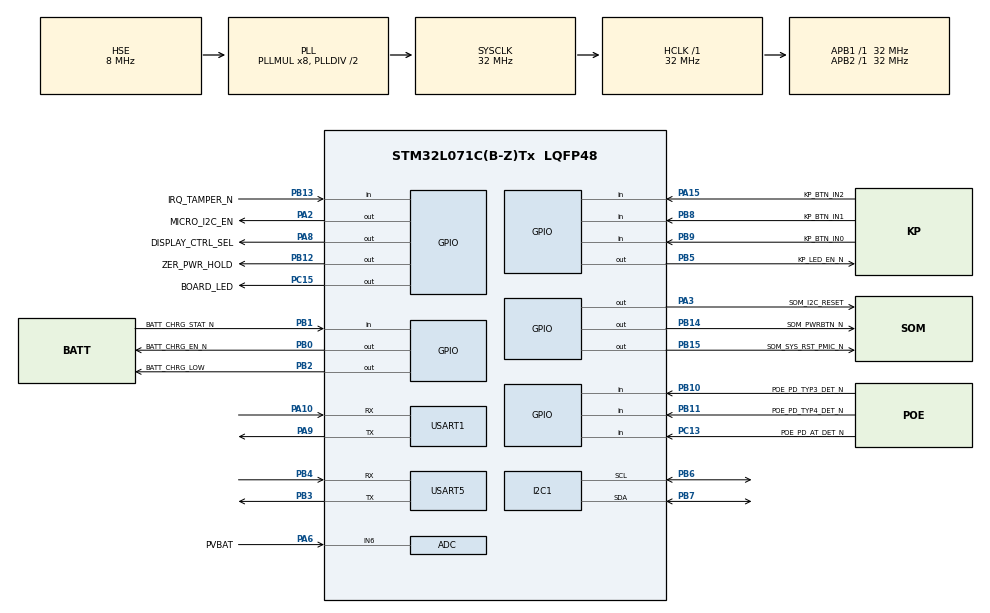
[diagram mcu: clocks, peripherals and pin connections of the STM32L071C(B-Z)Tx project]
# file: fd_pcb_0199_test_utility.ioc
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ADC.EOCSelection=ADC_EOC_SINGLE_CONV
ADC.SamplingTime=ADC_SAMPLETIME_160CYCLES_5
FREERTOS.Queues01=serialCmdTaskRxData,128,uint32_t,0,Dynamic,NULL,NULL;serialCmdTaskTxData,512,uint32_t,0,Dynamic,NULL,NULL;serialRxEvent,128,uint32_t,0,Dynamic,NULL,NULL;serialEchoTaskRxData,128,uint32_t,0,Dynamic,NULL,NULL;serialEchoTaskTxData,128,uint32_t,0,Dynamic,NULL,NULL
FREERTOS.Tasks01=defaultTask,0,128,StartDefaultTask,Default,NULL,Dynamic,NULL,NULL;serialBufferTask,0,256,sbt_SerialBufferTask,As external,NULL,Dynamic,NULL,NULL;serialCmdTask,0,512,sct_SerialCmdTask,As external,NULL,Dynamic,NULL,NULL;serialEchoTask,-2,256,set_SerialEchoTask,As external,NULL,Dynamic,NULL,NULL
FREERTOS.configMAX_TASK_NAME_LEN=32
FREERTOS.configTOTAL_HEAP_SIZE=12000
I2C1.Timing=0x00707CBB
Mcu.Family=STM32L0
Mcu.Name=STM32L071C(B-Z)Tx
Mcu.Package=LQFP48
NVIC.TIM22_IRQn=true\:0\:0\:false\:false\:true\:false\:false\:true
NVIC.TimeBase=TIM22_IRQn
NVIC.TimeBaseIP=TIM22
NVIC.USART1_IRQn=true\:3\:0\:true\:false\:true\:false\:true\:true
NVIC.USART4_5_IRQn=true\:3\:0\:true\:false\:true\:false\:true\:true
PA10.Mode=Asynchronous
PA10.Signal=USART1_RX
PA13.Mode=Serial_Wire
PA13.Signal=SYS_SWDIO
PA14.Mode=Serial_Wire
PA14.Signal=SYS_SWCLK
PA15.GPIO_Label=KP_BTN_IN2
PA15.Signal=GPIO_Input
PA2.GPIO_Label=MICRO_I2C_EN
PA2.Signal=GPIO_Output
PA3.GPIO_Label=SOM_I2C_RESET
PA3.Signal=GPIO_Output
PA6.GPIO_Label=PVBAT
PA6.Mode=IN6
PA6.Signal=ADC_IN6
PA8.GPIO_Label=DISPLAY_CTRL_SEL
PA8.PinState=GPIO_PIN_SET
PA8.Signal=GPIO_Output
PA9.Mode=Asynchronous
PA9.Signal=USART1_TX
PB0.GPIO_Label=BATT_CHRG_EN_N
PB0.Signal=GPIO_Output
PB1.GPIO_Label=BATT_CHRG_STAT_N
PB1.Signal=GPIO_Input
PB10.GPIO_Label=POE_PD_TYP3_DET_N
PB10.Signal=GPIO_Input
PB11.GPIO_Label=POE_PD_TYP4_DET_N
PB11.Signal=GPIO_Input
PB12.GPIO_Label=ZER_PWR_HOLD
PB12.Signal=GPIO_Output
PB13.GPIO_Label=IRQ_TAMPER_N
PB13.Signal=GPIO_Input
PB14.GPIO_Label=SOM_PWRBTN_N
PB14.Signal=GPIO_Output
PB15.GPIO_Label=SOM_SYS_RST_PMIC_N
PB15.Signal=GPIO_Output
PB2.GPIO_Label=BATT_CHRG_LOW
PB2.GPIO_Speed=GPIO_SPEED_FREQ_HIGH
PB2.Signal=GPIO_Output
PB3.Mode=Asynchronous
PB3.Signal=USART5_TX
PB4.Mode=Asynchronous
PB4.Signal=USART5_RX
PB5.GPIO_Label=KP_LED_EN_N
PB5.PinState=GPIO_PIN_SET
PB5.Signal=GPIO_Output
PB6.Mode=I2C
PB6.Signal=I2C1_SCL
PB7.Mode=I2C
PB7.Signal=I2C1_SDA
PB8.GPIO_Label=KP_BTN_IN1
PB8.Signal=GPIO_Input
PB9.GPIO_Label=KP_BTN_IN0
PB9.Signal=GPIO_Input
PC13.GPIO_Label=POE_PD_AT_DET_N
PC13.Signal=GPIO_Input
PC15-OSC32_OUT.GPIO_Label=BOARD_LED
PC15-OSC32_OUT.Signal=GPIO_Output
PH0-OSC_IN.Mode=HSE-External-Clock-Source
PH0-OSC_IN.Signal=RCC_OSC_IN
ProjectManager.HeapSize=0x200
ProjectManager.StackSize=0x400
ProjectManager.TargetToolchain=STM32CubeIDE
RCC.AHBFreq_Value=32000000
RCC.APB1Freq_Value=32000000
RCC.APB1TimFreq_Value=32000000
RCC.APB2Freq_Value=32000000
RCC.APB2TimFreq_Value=32000000
RCC.HCLKFreq_Value=32000000
RCC.HSE_VALUE=8000000
RCC.HSI16_VALUE=16000000
RCC.HSI_VALUE=16000000
RCC.LSE_VALUE=32768
RCC.MSI_VALUE=2097000
RCC.PLLMUL=RCC_PLLMUL_8
RCC.PLLSourceVirtual=RCC_PLLSOURCE_HSE
RCC.SYSCLKFreq_VALUE=32000000
RCC.SYSCLKSource=RCC_SYSCLKSOURCE_PLLCLK
RCC.VCOOutputFreq_Value=64000000
USART1.VirtualMode-Asynchronous=VM_ASYNC
USART5.VirtualMode-Asynchronous=VM_ASYNC
VP_ADC_TempSens_Input.Mode=IN-TempSens
VP_ADC_Vref_Input.Mode=IN-Vrefint
VP_FREERTOS_VS_CMSIS_V1.Mode=CMSIS_V1
VP_SYS_VS_tim22.Mode=TIM22
board=custom

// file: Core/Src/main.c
/* USER CODE BEGIN Header */
/**
  ******************************************************************************
  * @file           : main.c
  * @brief          : Main program body
  ******************************************************************************
  * @attention
  *
  * <h2><center>&copy; Copyright (c) 2023 STMicroelectronics.
  * All rights reserved.</center></h2>
  *
  * This software component is licensed by ST under BSD 3-Clause license,
  * the "License"; You may not use this file except in compliance with the
  * License. You may obtain a copy of the License at:
  *                        opensource.org/licenses/BSD-3-Clause
  *
  ******************************************************************************
  */
/* USER CODE END Header */
#include "main.h"
#include "cmsis_os.h"

/* USER CODE BEGIN Includes */
#include <string.h>
#include "serial_buffer_task.h"
#include "serial_cmd_task.h"
#include "serial_echo_task.h"
/* USER CODE END Includes */

ADC_HandleTypeDef hadc;

I2C_HandleTypeDef hi2c1;

UART_HandleTypeDef huart1;
UART_HandleTypeDef huart5;

osThreadId defaultTaskHandle;
osThreadId serialBufferTaskHandle;
osThreadId serialCmdTaskHandle;
osThreadId serialEchoTaskHandle;
osMessageQId serialCmdTaskRxDataHandle;
osMessageQId serialCmdTaskTxDataHandle;
osMessageQId serialRxEventHandle;
osMessageQId serialEchoTaskRxDataHandle;
osMessageQId serialEchoTaskTxDataHandle;

void SystemClock_Config(void);
static void MX_GPIO_Init(void);
static void MX_ADC_Init(void);
static void MX_I2C1_Init(void);
static void MX_USART1_UART_Init(void);
static void MX_USART5_UART_Init(void);
void StartDefaultTask(void const * argument);
extern void sbt_SerialBufferTask(void const * argument);
extern void sct_SerialCmdTask(void const * argument);
extern void set_SerialEchoTask(void const * argument);

int main(void)
{
  /* USER CODE BEGIN 1 */
  sct_Init_t sct_init_data;
  sbt_Init_t sbt_init_data;
  set_Init_t set_init_data;
  /* USER CODE END 1 */

  /* MCU Configuration--------------------------------------------------------*/

  /* Reset of all peripherals, Initializes the Flash interface and the Systick. */
  HAL_Init();

  /* Configure the system clock */
  SystemClock_Config();

  /* Initialize all configured peripherals */
  MX_GPIO_Init();
  MX_ADC_Init();
  MX_I2C1_Init();
  MX_USART1_UART_Init();
  MX_USART5_UART_Init();
  /* USER CODE BEGIN 2 */
  /* If the anti-tamper irq is low set ZER_PWR_HOLD to keep the +3V3_BAT supply enabled */
  if (HAL_GPIO_ReadPin(IRQ_TAMPER_N_GPIO_Port, IRQ_TAMPER_N_Pin) == GPIO_PIN_RESET)
  {
	  HAL_GPIO_WritePin(ZER_PWR_HOLD_GPIO_Port, ZER_PWR_HOLD_Pin, GPIO_PIN_SET);
  }
  /* USER CODE END 2 */

  /* Create the queue(s) */
  /* definition and creation of serialCmdTaskRxData */
  osMessageQDef(serialCmdTaskRxData, 128, uint32_t);
  serialCmdTaskRxDataHandle = osMessageCreate(osMessageQ(serialCmdTaskRxData), NULL);

  /* definition and creation of serialCmdTaskTxData */
  osMessageQDef(serialCmdTaskTxData, 512, uint32_t);
  serialCmdTaskTxDataHandle = osMessageCreate(osMessageQ(serialCmdTaskTxData), NULL);

  /* definition and creation of serialRxEvent */
  osMessageQDef(serialRxEvent, 128, uint32_t);
  serialRxEventHandle = osMessageCreate(osMessageQ(serialRxEvent), NULL);

  /* definition and creation of serialEchoTaskRxData */
  osMessageQDef(serialEchoTaskRxData, 128, uint32_t);
  serialEchoTaskRxDataHandle = osMessageCreate(osMessageQ(serialEchoTaskRxData), NULL);

  /* definition and creation of serialEchoTaskTxData */
  osMessageQDef(serialEchoTaskTxData, 128, uint32_t);
  serialEchoTaskTxDataHandle = osMessageCreate(osMessageQ(serialEchoTaskTxData), NULL);

  /* Create the thread(s) */
  /* definition and creation of defaultTask */
  osThreadDef(defaultTask, StartDefaultTask, osPriorityNormal, 0, 128);
  defaultTaskHandle = osThreadCreate(osThread(defaultTask), NULL);

  /* definition and creation of serialBufferTask */
  osThreadDef(serialBufferTask, sbt_SerialBufferTask, osPriorityNormal, 0, 256);
  serialBufferTaskHandle = osThreadCreate(osThread(serialBufferTask), NULL);

  /* definition and creation of serialCmdTask */
  osThreadDef(serialCmdTask, sct_SerialCmdTask, osPriorityNormal, 0, 512);
  serialCmdTaskHandle = osThreadCreate(osThread(serialCmdTask), NULL);

  /* definition and creation of serialEchoTask */
  osThreadDef(serialEchoTask, set_SerialEchoTask, osPriorityLow, 0, 256);
  serialEchoTaskHandle = osThreadCreate(osThread(serialEchoTask), NULL);

  /* USER CODE BEGIN RTOS_THREADS */
  /* add threads, ... */
  sbt_init_data.rx_event_queue				= serialRxEventHandle;
  sbt_init_data.no_uarts					= SBT_MAX_NO_UARTS;
  sbt_init_data.uarts[0].huart 				= &huart1;
  sbt_init_data.uarts[0].uart_rx_data_queue	= serialCmdTaskRxDataHandle;
  sbt_init_data.uarts[0].uart_tx_data_queue	= serialCmdTaskTxDataHandle;
  sbt_init_data.uarts[1].huart 				= &huart5;
  sbt_init_data.uarts[1].uart_rx_data_queue	= serialEchoTaskRxDataHandle;
  sbt_init_data.uarts[1].uart_tx_data_queue	= serialEchoTaskTxDataHandle;
  sbt_InitTask(sbt_init_data);

  set_init_data.no_uarts			= SET_MAX_NO_UARTS;
  set_init_data.rx_data_queue[0]	= serialEchoTaskRxDataHandle;
  set_init_data.tx_data_queue[0]	= serialEchoTaskTxDataHandle;

  set_InitTask(set_init_data);

  sct_init_data.tx_data_queue 		= serialCmdTaskTxDataHandle;
  sct_init_data.rx_data_queue 		= serialCmdTaskRxDataHandle;
  sct_init_data.i2c_device0			= &hi2c1;

  sct_init_data.gpi_pins[0].port	= IRQ_TAMPER_N_GPIO_Port;
  sct_init_data.gpi_pins[0].pin		= IRQ_TAMPER_N_Pin;
  strncpy(sct_init_data.gpi_pins[0].name, "IRQ_TAMPER_N", SCT_GPIO_PIN_NAME_MAX_LEN - 1);
  sct_init_data.gpi_pins[1].port	= BATT_CHRG_STAT_N_GPIO_Port;
  sct_init_data.gpi_pins[1].pin		= BATT_CHRG_STAT_N_Pin;
  strncpy(sct_init_data.gpi_pins[1].name, "BATT_CHRG_STAT_N", SCT_GPIO_PIN_NAME_MAX_LEN - 1);
  sct_init_data.gpi_pins[2].port	= POE_PD_AT_DET_N_GPIO_Port;
  sct_init_data.gpi_pins[2].pin		= POE_PD_AT_DET_N_Pin;
  strncpy(sct_init_data.gpi_pins[2].name, "POE_PD_AT_DET_N", SCT_GPIO_PIN_NAME_MAX_LEN - 1);
  sct_init_data.gpi_pins[3].port	= POE_PD_TYP3_DET_N_GPIO_Port;
  sct_init_data.gpi_pins[3].pin		= POE_PD_TYP3_DET_N_Pin;
  strncpy(sct_init_data.gpi_pins[3].name, "POE_PD_TYP3_DET_N", SCT_GPIO_PIN_NAME_MAX_LEN - 1);
  sct_init_data.gpi_pins[4].port	= POE_PD_TYP4_DET_N_GPIO_Port;
  sct_init_data.gpi_pins[4].pin		= POE_PD_TYP4_DET_N_Pin;
  strncpy(sct_init_data.gpi_pins[4].name, "POE_PD_TYP4_DET_N", SCT_GPIO_PIN_NAME_MAX_LEN - 1);
  sct_init_data.gpi_pins[5].port	= KP_BTN_IN0_GPIO_Port;
  sct_init_data.gpi_pins[5].pin		= KP_BTN_IN0_Pin;
  strncpy(sct_init_data.gpi_pins[5].name, "KP_BTN_IN0", SCT_GPIO_PIN_NAME_MAX_LEN - 1);
  sct_init_data.gpi_pins[6].port	= KP_BTN_IN1_GPIO_Port;
  sct_init_data.gpi_pins[6].pin		= KP_BTN_IN1_Pin;
  strncpy(sct_init_data.gpi_pins[6].name, "KP_BTN_IN1", SCT_GPIO_PIN_NAME_MAX_LEN - 1);
  sct_init_data.gpi_pins[7].port	= KP_BTN_IN2_GPIO_Port;
  sct_init_data.gpi_pins[7].pin		= KP_BTN_IN2_Pin;
  strncpy(sct_init_data.gpi_pins[7].name, "KP_BTN_IN2", SCT_GPIO_PIN_NAME_MAX_LEN - 1);

  sct_init_data.gpo_pins[0].port	= ZER_PWR_HOLD_GPIO_Port;
  sct_init_data.gpo_pins[0].pin		= ZER_PWR_HOLD_Pin;
  strncpy(sct_init_data.gpo_pins[0].name, "ZER_PWR_HOLD", SCT_GPIO_PIN_NAME_MAX_LEN - 1);
  sct_init_data.gpo_pins[1].port	= DISPLAY_CTRL_SEL_GPIO_Port;
  sct_init_data.gpo_pins[1].pin		= DISPLAY_CTRL_SEL_Pin;
  strncpy(sct_init_data.gpo_pins[1].name, "DISPLAY_CTRL_SEL", SCT_GPIO_PIN_NAME_MAX_LEN - 1);
  sct_init_data.gpo_pins[2].port	= SOM_PWRBTN_N_GPIO_Port;
  sct_init_data.gpo_pins[2].pin		= SOM_PWRBTN_N_Pin;
  strncpy(sct_init_data.gpo_pins[2].name, "SOM_PWR_BTN_N", SCT_GPIO_PIN_NAME_MAX_LEN - 1);
  sct_init_data.gpo_pins[3].port	= SOM_SYS_RST_PMIC_N_GPIO_Port;
  sct_init_data.gpo_pins[3].pin		= SOM_SYS_RST_PMIC_N_Pin;
  strncpy(sct_init_data.gpo_pins[3].name, "SOM_SYS_RST_PMIC_N", SCT_GPIO_PIN_NAME_MAX_LEN - 1);
  sct_init_data.gpo_pins[4].port	= KP_LED_EN_N_GPIO_Port;
  sct_init_data.gpo_pins[4].pin		= KP_LED_EN_N_Pin;
  strncpy(sct_init_data.gpo_pins[4].name, "KP_LED_EN_N", SCT_GPIO_PIN_NAME_MAX_LEN - 1);
  sct_init_data.gpo_pins[5].port	= BATT_CHRG_LOW_GPIO_Port;
  sct_init_data.gpo_pins[5].pin		= BATT_CHRG_LOW_Pin;
  strncpy(sct_init_data.gpo_pins[5].name, "BATT_CHRG_LOW", SCT_GPIO_PIN_NAME_MAX_LEN - 1);
  sct_init_data.gpo_pins[6].port	= BATT_CHRG_EN_N_GPIO_Port;
  sct_init_data.gpo_pins[6].pin		= BATT_CHRG_EN_N_Pin;
  strncpy(sct_init_data.gpo_pins[6].name, "BATT_CHRG_EN_N", SCT_GPIO_PIN_NAME_MAX_LEN - 1);
  sct_init_data.gpo_pins[7].port	= MICRO_I2C_EN_GPIO_Port;
  sct_init_data.gpo_pins[7].pin		= MICRO_I2C_EN_Pin;
  strncpy(sct_init_data.gpo_pins[7].name, "MICRO_I2C_EN", SCT_GPIO_PIN_NAME_MAX_LEN - 1);
  sct_init_data.gpo_pins[8].port	= SOM_I2C_RESET_GPIO_Port;
  sct_init_data.gpo_pins[8].pin		= SOM_I2C_RESET_Pin;
  strncpy(sct_init_data.gpo_pins[8].name, "SOM_I2C_RESET", SCT_GPIO_PIN_NAME_MAX_LEN - 1);

  sct_init_data.adc_device = &hadc;

  sct_InitTask(sct_init_data);
  /* USER CODE END RTOS_THREADS */

  /* Start scheduler */
  osKernelStart();

  /* We should never get here as control is now taken by the scheduler */
  /* Infinite loop */
  while (1)
  {

  }
}

void SystemClock_Config(void)
{
  RCC_OscInitTypeDef RCC_OscInitStruct = {0};
  RCC_ClkInitTypeDef RCC_ClkInitStruct = {0};
  RCC_PeriphCLKInitTypeDef PeriphClkInit = {0};

  /** Configure the main internal regulator output voltage
  */
  __HAL_PWR_VOLTAGESCALING_CONFIG(PWR_REGULATOR_VOLTAGE_SCALE1);
  /** Initializes the RCC Oscillators according to the specified parameters
  * in the RCC_OscInitTypeDef structure.
  */
  RCC_OscInitStruct.OscillatorType = RCC_OSCILLATORTYPE_HSE;
  RCC_OscInitStruct.HSEState = RCC_HSE_BYPASS;
  RCC_OscInitStruct.PLL.PLLState = RCC_PLL_ON;
  RCC_OscInitStruct.PLL.PLLSource = RCC_PLLSOURCE_HSE;
  RCC_OscInitStruct.PLL.PLLMUL = RCC_PLLMUL_8;
  RCC_OscInitStruct.PLL.PLLDIV = RCC_PLLDIV_2;
  if (HAL_RCC_OscConfig(&RCC_OscInitStruct) != HAL_OK)
  {
    Error_Handler();
  }
  /** Initializes the CPU, AHB and APB buses clocks
  */
  RCC_ClkInitStruct.ClockType = RCC_CLOCKTYPE_HCLK|RCC_CLOCKTYPE_SYSCLK
                              |RCC_CLOCKTYPE_PCLK1|RCC_CLOCKTYPE_PCLK2;
  RCC_ClkInitStruct.SYSCLKSource = RCC_SYSCLKSOURCE_PLLCLK;
  RCC_ClkInitStruct.AHBCLKDivider = RCC_SYSCLK_DIV1;
  RCC_ClkInitStruct.APB1CLKDivider = RCC_HCLK_DIV1;
  RCC_ClkInitStruct.APB2CLKDivider = RCC_HCLK_DIV1;

  if (HAL_RCC_ClockConfig(&RCC_ClkInitStruct, FLASH_LATENCY_1) != HAL_OK)
  {
    Error_Handler();
  }
  PeriphClkInit.PeriphClockSelection = RCC_PERIPHCLK_USART1|RCC_PERIPHCLK_I2C1;
  PeriphClkInit.Usart1ClockSelection = RCC_USART1CLKSOURCE_PCLK2;
  PeriphClkInit.I2c1ClockSelection = RCC_I2C1CLKSOURCE_PCLK1;
  if (HAL_RCCEx_PeriphCLKConfig(&PeriphClkInit) != HAL_OK)
  {
    Error_Handler();
  }
}

static void MX_ADC_Init(void)
{

  ADC_ChannelConfTypeDef sConfig = {0};

  /** Configure the global features of the ADC (Clock, Resolution, Data Alignment and number of conversion)
  */
  hadc.Instance = ADC1;
  hadc.Init.OversamplingMode = DISABLE;
  hadc.Init.ClockPrescaler = ADC_CLOCK_SYNC_PCLK_DIV2;
  hadc.Init.Resolution = ADC_RESOLUTION_12B;
  hadc.Init.SamplingTime = ADC_SAMPLETIME_160CYCLES_5;
  hadc.Init.ScanConvMode = ADC_SCAN_DIRECTION_FORWARD;
  hadc.Init.DataAlign = ADC_DATAALIGN_RIGHT;
  hadc.Init.ContinuousConvMode = DISABLE;
  hadc.Init.DiscontinuousConvMode = DISABLE;
  hadc.Init.ExternalTrigConvEdge = ADC_EXTERNALTRIGCONVEDGE_NONE;
  hadc.Init.ExternalTrigConv = ADC_SOFTWARE_START;
  hadc.Init.DMAContinuousRequests = DISABLE;
  hadc.Init.EOCSelection = ADC_EOC_SINGLE_CONV;
  hadc.Init.Overrun = ADC_OVR_DATA_PRESERVED;
  hadc.Init.LowPowerAutoWait = DISABLE;
  hadc.Init.LowPowerFrequencyMode = DISABLE;
  hadc.Init.LowPowerAutoPowerOff = DISABLE;
  if (HAL_ADC_Init(&hadc) != HAL_OK)
  {
    Error_Handler();
  }
  /** Configure for the selected ADC regular channel to be converted.
  */
  sConfig.Channel = ADC_CHANNEL_6;
  sConfig.Rank = ADC_RANK_CHANNEL_NUMBER;
  if (HAL_ADC_ConfigChannel(&hadc, &sConfig) != HAL_OK)
  {
    Error_Handler();
  }
  /** Configure for the selected ADC regular channel to be converted.
  */
  sConfig.Channel = ADC_CHANNEL_TEMPSENSOR;
  if (HAL_ADC_ConfigChannel(&hadc, &sConfig) != HAL_OK)
  {
    Error_Handler();
  }
  /** Configure for the selected ADC regular channel to be converted.
  */
  sConfig.Channel = ADC_CHANNEL_VREFINT;
  if (HAL_ADC_ConfigChannel(&hadc, &sConfig) != HAL_OK)
  {
    Error_Handler();
  }

}

static void MX_I2C1_Init(void)
{

  hi2c1.Instance = I2C1;
  hi2c1.Init.Timing = 0x00707CBB;
  hi2c1.Init.OwnAddress1 = 0;
  hi2c1.Init.AddressingMode = I2C_ADDRESSINGMODE_7BIT;
  hi2c1.Init.DualAddressMode = I2C_DUALADDRESS_DISABLE;
  hi2c1.Init.OwnAddress2 = 0;
  hi2c1.Init.OwnAddress2Masks = I2C_OA2_NOMASK;
  hi2c1.Init.GeneralCallMode = I2C_GENERALCALL_DISABLE;
  hi2c1.Init.NoStretchMode = I2C_NOSTRETCH_DISABLE;
  if (HAL_I2C_Init(&hi2c1) != HAL_OK)
  {
    Error_Handler();
  }
  /** Configure Analogue filter
  */
  if (HAL_I2CEx_ConfigAnalogFilter(&hi2c1, I2C_ANALOGFILTER_ENABLE) != HAL_OK)
  {
    Error_Handler();
  }
  /** Configure Digital filter
  */
  if (HAL_I2CEx_ConfigDigitalFilter(&hi2c1, 0) != HAL_OK)
  {
    Error_Handler();
  }

}

static void MX_USART1_UART_Init(void)
{

  huart1.Instance = USART1;
  huart1.Init.BaudRate = 115200;
  huart1.Init.WordLength = UART_WORDLENGTH_8B;
  huart1.Init.StopBits = UART_STOPBITS_1;
  huart1.Init.Parity = UART_PARITY_NONE;
  huart1.Init.Mode = UART_MODE_TX_RX;
  huart1.Init.HwFlowCtl = UART_HWCONTROL_NONE;
  huart1.Init.OverSampling = UART_OVERSAMPLING_16;
  huart1.Init.OneBitSampling = UART_ONE_BIT_SAMPLE_DISABLE;
  huart1.AdvancedInit.AdvFeatureInit = UART_ADVFEATURE_NO_INIT;
  if (HAL_UART_Init(&huart1) != HAL_OK)
  {
    Error_Handler();
  }

}

static void MX_USART5_UART_Init(void)
{

  huart5.Instance = USART5;
  huart5.Init.BaudRate = 115200;
  huart5.Init.WordLength = UART_WORDLENGTH_8B;
  huart5.Init.StopBits = UART_STOPBITS_1;
  huart5.Init.Parity = UART_PARITY_NONE;
  huart5.Init.Mode = UART_MODE_TX_RX;
  huart5.Init.HwFlowCtl = UART_HWCONTROL_NONE;
  huart5.Init.OverSampling = UART_OVERSAMPLING_16;
  huart5.Init.OneBitSampling = UART_ONE_BIT_SAMPLE_DISABLE;
  huart5.AdvancedInit.AdvFeatureInit = UART_ADVFEATURE_NO_INIT;
  if (HAL_UART_Init(&huart5) != HAL_OK)
  {
    Error_Handler();
  }

}

static void MX_GPIO_Init(void)
{
  GPIO_InitTypeDef GPIO_InitStruct = {0};

  /* GPIO Ports Clock Enable */
  __HAL_RCC_GPIOC_CLK_ENABLE();
  __HAL_RCC_GPIOH_CLK_ENABLE();
  __HAL_RCC_GPIOA_CLK_ENABLE();
  __HAL_RCC_GPIOB_CLK_ENABLE();

  /*Configure GPIO pin Output Level */
  HAL_GPIO_WritePin(BOARD_LED_GPIO_Port, BOARD_LED_Pin, GPIO_PIN_RESET);

  /*Configure GPIO pin Output Level */
  HAL_GPIO_WritePin(GPIOA, MICRO_I2C_EN_Pin|SOM_I2C_RESET_Pin, GPIO_PIN_RESET);

  /*Configure GPIO pin Output Level */
  HAL_GPIO_WritePin(GPIOB, BATT_CHRG_EN_N_Pin|BATT_CHRG_LOW_Pin|ZER_PWR_HOLD_Pin|SOM_PWRBTN_N_Pin
                          |SOM_SYS_RST_PMIC_N_Pin, GPIO_PIN_RESET);

  /*Configure GPIO pin Output Level */
  HAL_GPIO_WritePin(DISPLAY_CTRL_SEL_GPIO_Port, DISPLAY_CTRL_SEL_Pin, GPIO_PIN_SET);

  /*Configure GPIO pin Output Level */
  HAL_GPIO_WritePin(KP_LED_EN_N_GPIO_Port, KP_LED_EN_N_Pin, GPIO_PIN_SET);

  /*Configure GPIO pin : POE_PD_AT_DET_N_Pin */
  GPIO_InitStruct.Pin = POE_PD_AT_DET_N_Pin;
  GPIO_InitStruct.Mode = GPIO_MODE_INPUT;
  GPIO_InitStruct.Pull = GPIO_NOPULL;
  HAL_GPIO_Init(POE_PD_AT_DET_N_GPIO_Port, &GPIO_InitStruct);

  /*Configure GPIO pin : BOARD_LED_Pin */
  GPIO_InitStruct.Pin = BOARD_LED_Pin;
  GPIO_InitStruct.Mode = GPIO_MODE_OUTPUT_PP;
  GPIO_InitStruct.Pull = GPIO_NOPULL;
  GPIO_InitStruct.Speed = GPIO_SPEED_FREQ_LOW;
  HAL_GPIO_Init(BOARD_LED_GPIO_Port, &GPIO_InitStruct);

  /*Configure GPIO pins : MICRO_I2C_EN_Pin SOM_I2C_RESET_Pin DISPLAY_CTRL_SEL_Pin */
  GPIO_InitStruct.Pin = MICRO_I2C_EN_Pin|SOM_I2C_RESET_Pin|DISPLAY_CTRL_SEL_Pin;
  GPIO_InitStruct.Mode = GPIO_MODE_OUTPUT_PP;
  GPIO_InitStruct.Pull = GPIO_NOPULL;
  GPIO_InitStruct.Speed = GPIO_SPEED_FREQ_LOW;
  HAL_GPIO_Init(GPIOA, &GPIO_InitStruct);

  /*Configure GPIO pins : BATT_CHRG_EN_N_Pin ZER_PWR_HOLD_Pin SOM_PWRBTN_N_Pin SOM_SYS_RST_PMIC_N_Pin
                           KP_LED_EN_N_Pin */
  GPIO_InitStruct.Pin = BATT_CHRG_EN_N_Pin|ZER_PWR_HOLD_Pin|SOM_PWRBTN_N_Pin|SOM_SYS_RST_PMIC_N_Pin
                          |KP_LED_EN_N_Pin;
  GPIO_InitStruct.Mode = GPIO_MODE_OUTPUT_PP;
  GPIO_InitStruct.Pull = GPIO_NOPULL;
  GPIO_InitStruct.Speed = GPIO_SPEED_FREQ_LOW;
  HAL_GPIO_Init(GPIOB, &GPIO_InitStruct);

  /*Configure GPIO pins : BATT_CHRG_STAT_N_Pin POE_PD_TYP3_DET_N_Pin POE_PD_TYP4_DET_N_Pin IRQ_TAMPER_N_Pin
                           KP_BTN_IN1_Pin KP_BTN_IN0_Pin */
  GPIO_InitStruct.Pin = BATT_CHRG_STAT_N_Pin|POE_PD_TYP3_DET_N_Pin|POE_PD_TYP4_DET_N_Pin|IRQ_TAMPER_N_Pin
                          |KP_BTN_IN1_Pin|KP_BTN_IN0_Pin;
  GPIO_InitStruct.Mode = GPIO_MODE_INPUT;
  GPIO_InitStruct.Pull = GPIO_NOPULL;
  HAL_GPIO_Init(GPIOB, &GPIO_InitStruct);

  /*Configure GPIO pin : BATT_CHRG_LOW_Pin */
  GPIO_InitStruct.Pin = BATT_CHRG_LOW_Pin;
  GPIO_InitStruct.Mode = GPIO_MODE_OUTPUT_PP;
  GPIO_InitStruct.Pull = GPIO_NOPULL;
  GPIO_InitStruct.Speed = GPIO_SPEED_FREQ_HIGH;
  HAL_GPIO_Init(BATT_CHRG_LOW_GPIO_Port, &GPIO_InitStruct);

  /*Configure GPIO pin : KP_BTN_IN2_Pin */
  GPIO_InitStruct.Pin = KP_BTN_IN2_Pin;
  GPIO_InitStruct.Mode = GPIO_MODE_INPUT;
  GPIO_InitStruct.Pull = GPIO_NOPULL;
  HAL_GPIO_Init(KP_BTN_IN2_GPIO_Port, &GPIO_InitStruct);

}

void StartDefaultTask(void const * argument)
{
  /* USER CODE BEGIN 5 */
  /* Infinite loop */
  for(;;)
  {
	  osDelay(1000);
	  HAL_GPIO_TogglePin(BOARD_LED_GPIO_Port, BOARD_LED_Pin);
  }
  /* USER CODE END 5 */
}

void HAL_TIM_PeriodElapsedCallback(TIM_HandleTypeDef *htim)
{
  if (htim->Instance == TIM22) {
    HAL_IncTick();
  }
}

void Error_Handler(void)
{
}

/************************ (C) COPYRIGHT STMicroelectronics *****END OF FILE****/

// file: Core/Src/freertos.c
/* USER CODE BEGIN Header */
/**
  ******************************************************************************
  * File Name          : freertos.c
  * Description        : Code for freertos applications
  ******************************************************************************
  * @attention
  *
  * <h2><center>&copy; Copyright (c) 2023 STMicroelectronics.
  * All rights reserved.</center></h2>
  *
  * This software component is licensed by ST under Ultimate Liberty license
  * SLA0044, the "License"; You may not use this file except in compliance with
  * the License. You may obtain a copy of the License at:
  *                             www.st.com/SLA0044
  *
  ******************************************************************************
  */
/* USER CODE END Header */

#include "FreeRTOS.h"
#include "task.h"
#include "main.h"

/* GetIdleTaskMemory prototype (linked to static allocation support) */
void vApplicationGetIdleTaskMemory( StaticTask_t **ppxIdleTaskTCBBuffer, StackType_t **ppxIdleTaskStackBuffer, uint32_t *pulIdleTaskStackSize );

/* USER CODE BEGIN GET_IDLE_TASK_MEMORY */
static StaticTask_t xIdleTaskTCBBuffer;
static StackType_t xIdleStack[configMINIMAL_STACK_SIZE];

void vApplicationGetIdleTaskMemory( StaticTask_t **ppxIdleTaskTCBBuffer, StackType_t **ppxIdleTaskStackBuffer, uint32_t *pulIdleTaskStackSize )
{
  *ppxIdleTaskTCBBuffer = &xIdleTaskTCBBuffer;
  *ppxIdleTaskStackBuffer = &xIdleStack[0];
  *pulIdleTaskStackSize = configMINIMAL_STACK_SIZE;
  /* place for user code */
}
/* USER CODE END GET_IDLE_TASK_MEMORY */

/************************ (C) COPYRIGHT STMicroelectronics *****END OF FILE****/
